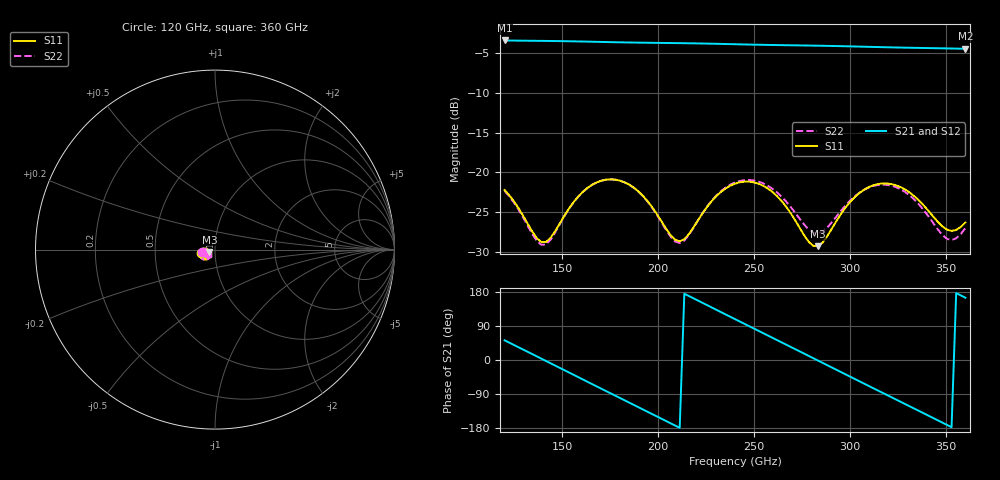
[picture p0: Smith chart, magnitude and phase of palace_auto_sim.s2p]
#  GHZ S DB R 50
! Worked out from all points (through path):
!   101 points, 120 GHz to 360 GHz, reference 50 ohm
!   highest |S21| = -3.39 dB at 120 GHz (marker M1); lowest = -4.4 dB at 360 GHz (marker M2)
!   group delay of S21, straight-line fit = 7.03 ps
!   lowest |S11| = -29.3 dB at 283.2 GHz (marker M3), VSWR 1.07, Z = 46.9 - j1.24 ohm
!   |S11| at or under -10 dB: start of sweep to end of sweep
!   |S22| runs from -29.1 to -20.9 dB; largest |S21 - S12| = 7.5e-14
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120  -22.23 -167.5  -3.39 52.0  -3.39 52.0  -22.35 -168.2
139.2  -28.79 -154.0  -3.44 3.4  -3.44 3.4  -29.13 -153.2
148.8  -26.41 -127.6  -3.47 -21.0  -3.47 -21.0  -26.51 -126.0
160.8  -22.45 -132.4  -3.52 -51.5  -3.52 -51.5  -22.45 -131.4
170.4  -21.05 -146.4  -3.57 -75.8  -3.57 -75.8  -21.05 -145.6
180  -21.04 -161.9  -3.62 -100.1  -3.62 -100.1  -21.05 -161.3
189.6  -22.38 -175.6  -3.66 -124.3  -3.66 -124.3  -22.41 -175.2
201.6  -26.13 179.3  -3.70 -154.7  -3.70 -154.7  -26.26 179.7
211.2  -28.69 -157.6  -3.73 -179.0  -3.73 -179.0  -28.89 -155.9
218.4  -26.92 -138.4  -3.75 162.7  -3.75 162.7  -26.98 -135.9
240  -21.42 -151.3  -3.86 107.9  -3.86 107.9  -21.28 -148.9
249.6  -21.25 -166.0  -3.91 83.6  -3.91 83.6  -21.02 -163.2
259.2  -22.41 -179.5  -3.96 59.4  -3.96 59.4  -22.02 -176.2
271.2  -25.98 173.3  -4.00 29.1  -4.00 29.1  -25.05 177.1
280.8  -29.27 -166.5  -4.04 4.7  -4.04 4.7  -27.61 -168.2
283.2  -29.30 -157.3  -4.05 -1.4  -4.05 -1.4  -27.71 -161.6
292.8  -26.15 -136.2  -4.09 -25.7  -4.09 -25.7  -25.57 -144.1
304.8  -22.61 -142.4  -4.16 -56.1  -4.16 -56.1  -22.57 -148.6
321.6  -21.49 -165.1  -4.26 -98.6  -4.26 -98.6  -21.69 -170.2
343.2  -25.55 -179.7  -4.36 -153.1  -4.36 -153.1  -26.37 175.8
352.8  -27.38 -162.7  -4.40 -177.4  -4.40 -177.4  -28.53 -162.6
360  -26.31 -147.8  -4.44 164.4  -4.44 164.4  -27.03 -144.8
